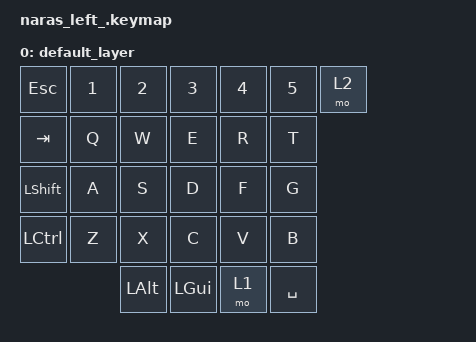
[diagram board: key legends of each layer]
/*
 * Copyright (c) 2020 The ZMK Contributors
 *
 * SPDX-License-Identifier: MIT
 */

#include <behaviors.dtsi>
#include <dt-bindings/zmk/keys.h>
#include <dt-bindings/zmk/bt.h>

/ {
    keymap {
        compatible = "zmk,keymap";

        default_layer {
// ------------------------------------------------------------------------------------------------------------
// |  ESC  |  1  |  2  |  3   |  4   |  5   |                   |  6   |  7    |  8    |  9   |   0   |   `   |
// |  TAB  |  Q  |  W  |  E   |  R   |  T   |                   |  Y   |  U    |  I    |  O   |   P   |   -   |
// |  CTRL |  A  |  S  |  D   |  F   |  G   |                   |  H   |  J    |  K    |  L   |   ;   |   '   |
// | SHIFT |  Z  |  X  |  C   |  V   |  B   |   "["  |  |  "]"  |  N   |  M    |  ,    |  .   |   /   | SHIFT |
//                     | ALT  | GUI  | LOWER|  SPACE |  | ENTER | RAISE| BSPC  | GUI   |
            bindings = <
&kp ESC   &kp N1 &kp N2   &kp N3   &kp N4   &kp N5  &mo 2
&kp TAB   &kp Q  &kp W    &kp E    &kp R    &kp T
&kp LSHFT &kp A  &kp S    &kp D    &kp F    &kp G
&kp LCTRL &kp Z  &kp X    &kp C    &kp V    &kp B
                 &kp LALT &kp LGUI &mo 1    &kp SPACE
            >;
        };
    };
};
